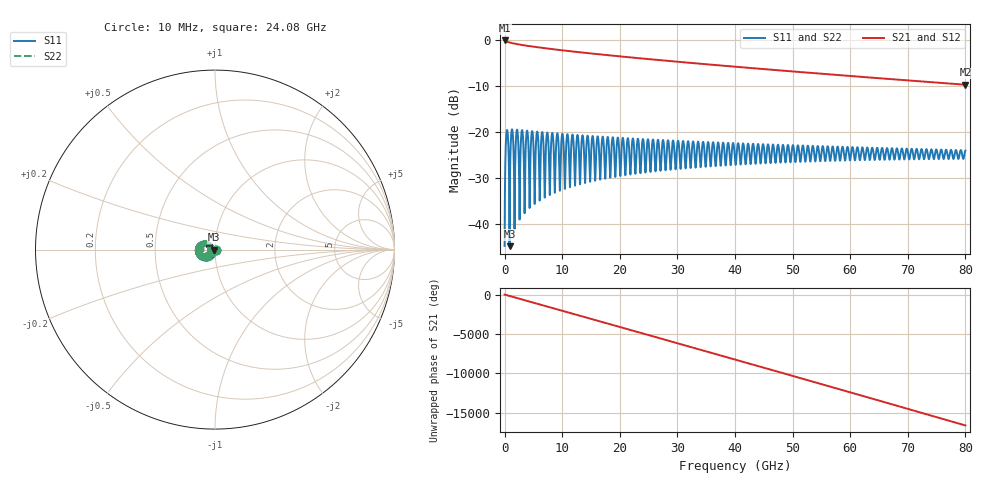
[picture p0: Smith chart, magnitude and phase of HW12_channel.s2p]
! Created Fri May 10 21:17:23 2024
# hz S ma R 50
! 2 Port Network Data from SP6.SP block
! freq  magS11  angS11  magS21  angS21  magS12  angS12  magS22  angS22
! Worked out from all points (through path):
!   8000 points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, 10 MHz to 80 GHz, reference 50 ohm
!   highest |S21| = -0.04 dB at 10 MHz (marker M1); lowest = -9.7 dB at 80 GHz (marker M2)
!   group delay of S21, straight-line fit = 577 ps
!   lowest |S11| = -44.8 dB at 860 MHz (marker M3), VSWR 1.01, Z = 49.4 + j0.0177 ohm
!   |S11| at or under -10 dB: start of sweep to end of sweep
!   |S22| runs from -44.8 to -19.4 dB; largest |S21 - S12| = 0
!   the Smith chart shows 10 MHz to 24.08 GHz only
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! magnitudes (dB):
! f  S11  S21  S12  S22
! 10 MHz  -44.8  0.0  0.0  -44.8
! 420 MHz  -19.6  -0.3  -0.3  -19.6
! 860 MHz  -44.8  -0.5  -0.5  -44.8
! 1.3 GHz  -19.4  -0.6  -0.6  -19.4
! 1.73 GHz  -41.2  -0.7  -0.7  -41.2
! 2.17 GHz  -19.5  -0.9  -0.9  -19.5
! 2.61 GHz  -39.0  -0.9  -0.9  -39.0
! 3.04 GHz  -19.6  -1.1  -1.1  -19.6
! 3.48 GHz  -37.7  -1.1  -1.1  -37.7
! 3.92 GHz  -19.7  -1.2  -1.2  -19.7
! 4.36 GHz  -36.4  -1.3  -1.3  -36.4
! 4.79 GHz  -19.8  -1.4  -1.4  -19.8
! 5.23 GHz  -35.7  -1.4  -1.4  -35.7
! 5.67 GHz  -19.9  -1.5  -1.5  -19.9
! 6.1 GHz  -34.9  -1.6  -1.6  -34.9
! 6.54 GHz  -20.0  -1.7  -1.7  -20.0
! 13.35 GHz  -22.6  -2.7  -2.7  -22.6
! 26.68 GHz  -21.7  -4.3  -4.3  -21.7
! 40.01 GHz  -26.1  -5.8  -5.8  -26.1
! 53.34 GHz  -23.9  -7.1  -7.1  -23.9
! 66.67 GHz  -25.1  -8.4  -8.4  -25.1
! 80 GHz  -24.0  -9.7  -9.7  -24.0
